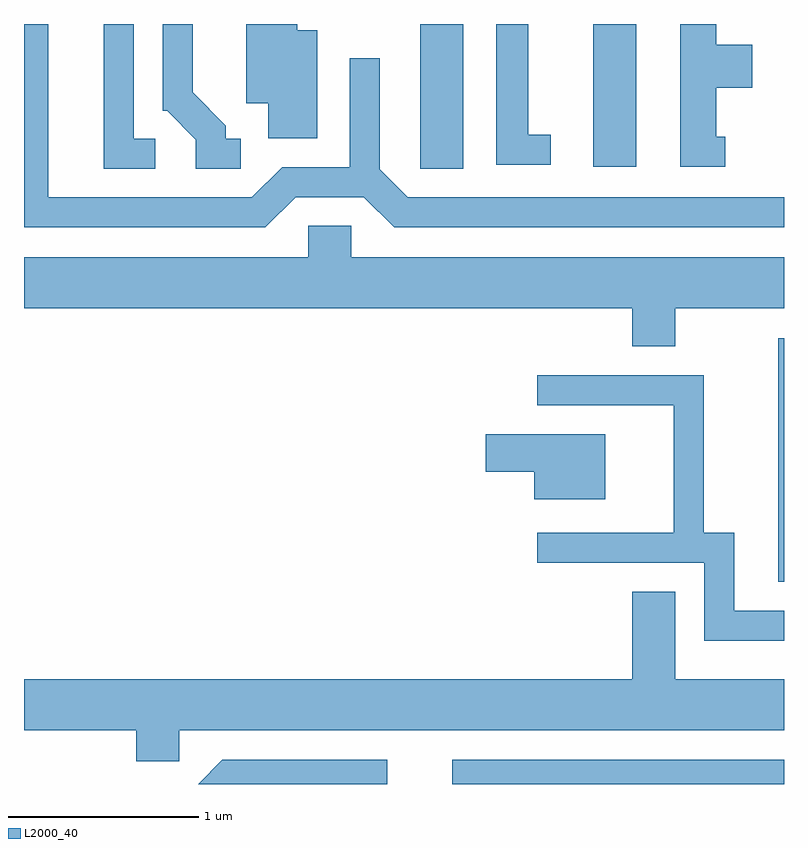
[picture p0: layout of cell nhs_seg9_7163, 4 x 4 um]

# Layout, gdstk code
import gdstk
lib = gdstk.Library(unit=1e-6, precision=1e-09)
def R(c, l, rs):  # rectangles x0, y0, x1, y1
    for r in rs: c.add(gdstk.rectangle(r[:2], r[2:], *l))
def P(c, l, *ps):  # polygons
    for p in ps: c.add(gdstk.Polygon(p, *l))
L2000_40 = (2000, 40)

nhs_seg9_7163 = lib.new_cell('nhs_seg9_7163')
R(nhs_seg9_7163, L2000_40, [(399.866,1980.432,401.611,1980.559), (401.581,1981.496,401.611,1982.779), (399.696,1983.671,399.924,1984.432), (400.606,1983.681,400.834,1984.432)])
P(nhs_seg9_7163, L2000_40, [(399.042,1983.521),(399.399,1983.521),(399.559,1983.361),(401.611,1983.361),(401.611,1983.519),(399.632,1983.519),(399.484,1983.667),(399.484,1984.253),(399.326,1984.253),(399.326,1983.679),(398.969,1983.679),(398.809,1983.519),(397.739,1983.519),(397.739,1984.432),(397.611,1984.432),(397.611,1983.361),(398.882,1983.361)],
  [(401.303,1983.839),(401.254,1983.839),(401.254,1984.096),(401.444,1984.096),(401.444,1984.324),(401.254,1984.324),(401.254,1984.432),(401.066,1984.432),(401.066,1983.681),(401.303,1983.681)],
  [(398.303,1983.829),(398.189,1983.829),(398.189,1984.432),(398.031,1984.432),(398.031,1983.671),(398.303,1983.671)],
  [(399.154,1984.399),(399.049,1984.399),(399.049,1984.432),(398.781,1984.432),(398.781,1984.016),(398.896,1984.016),(398.896,1983.831),(399.154,1983.831)],
  [(400.383,1983.849),(400.264,1983.849),(400.264,1984.432),(400.096,1984.432),(400.096,1983.691),(400.383,1983.691)],
  [(398.753,1983.829),(398.674,1983.829),(398.674,1983.897),(398.499,1984.072),(398.499,1984.432),(398.341,1984.432),(398.341,1983.976),(398.364,1983.976),(398.516,1983.824),(398.516,1983.671),(398.753,1983.671)],
  [(401.039,1982.936),(401.611,1982.936),(401.611,1983.204),(399.334,1983.204),(399.334,1983.369),(399.106,1983.369),(399.106,1983.204),(397.611,1983.204),(397.611,1982.936),(400.811,1982.936),(400.811,1982.736),(401.039,1982.736)],
  [(401.611,1981.344),(401.349,1981.344),(401.349,1981.754),(401.189,1981.754),(401.189,1982.584),(400.313,1982.584),(400.313,1982.426),(401.031,1982.426),(401.031,1981.754),(400.313,1981.754),(400.313,1981.596),(401.191,1981.596),(401.191,1981.186),(401.611,1981.186)],
  [(400.669,1982.274),(400.041,1982.274),(400.041,1982.076),(400.296,1982.076),(400.296,1981.931),(400.669,1981.931)],
  [(398.429,1980.716),(401.611,1980.716),(401.611,1980.984),(401.039,1980.984),(401.039,1981.444),(400.811,1981.444),(400.811,1980.984),(397.611,1980.984),(397.611,1980.716),(398.201,1980.716),(398.201,1980.551),(398.429,1980.551)],
  [(399.524,1980.559),(398.654,1980.559),(398.527,1980.432),(399.524,1980.432)])

lib.write_gds('nhs_seg9_7163.gds')
